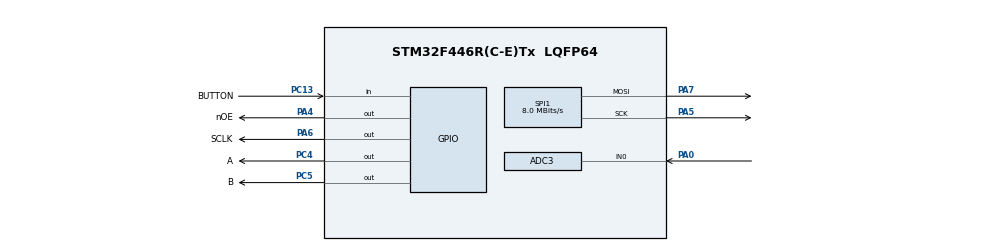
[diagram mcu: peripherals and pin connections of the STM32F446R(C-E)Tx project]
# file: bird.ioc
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ADC3.Channel-0\#ChannelRegularConversion=ADC_CHANNEL_0
ADC3.NbrOfConversionFlag=1
ADC3.Rank-0\#ChannelRegularConversion=1
ADC3.SamplingTime-0\#ChannelRegularConversion=ADC_SAMPLETIME_3CYCLES
Mcu.Family=STM32F4
Mcu.Name=STM32F446R(C-E)Tx
Mcu.Package=LQFP64
NVIC.ADC_IRQn=true\:0\:0\:false\:false\:true\:true\:true\:true
NVIC.PriorityGroup=NVIC_PRIORITYGROUP_4
NVIC.TIM2_IRQn=true\:0\:0\:false\:false\:true\:true\:true\:true
NVIC.TIM3_IRQn=true\:0\:0\:false\:false\:true\:true\:true\:true
NVIC.TIM4_IRQn=true\:0\:0\:false\:false\:true\:true\:true\:true
PA0-WKUP.Signal=ADCx_IN0
PA13.Mode=Serial_Wire
PA13.Signal=SYS_JTMS-SWDIO
PA14.Mode=Serial_Wire
PA14.Signal=SYS_JTCK-SWCLK
PA4.GPIO_Label=nOE
PA4.Signal=GPIO_Output
PA5.Mode=TX_Only_Simplex_Unidirect_Master
PA5.Signal=SPI1_SCK
PA6.GPIO_Label=SCLK
PA6.Signal=GPIO_Output
PA7.Mode=TX_Only_Simplex_Unidirect_Master
PA7.Signal=SPI1_MOSI
PC13.GPIO_Label=BUTTON
PC13.Signal=GPIO_Input
PC4.GPIO_Label=A
PC4.Signal=GPIO_Output
PC5.GPIO_Label=B
PC5.Signal=GPIO_Output
PH0-OSC_IN.Mode=HSE-External-Oscillator
PH0-OSC_IN.Signal=RCC_OSC_IN
PH1-OSC_OUT.Mode=HSE-External-Oscillator
PH1-OSC_OUT.Signal=RCC_OSC_OUT
ProjectManager.HeapSize=0x200
ProjectManager.StackSize=0x400
ProjectManager.TargetToolchain=STM32CubeIDE
RCC.CortexFreq_Value=16000000
RCC.USBFreq_Value=96000000
RCC.VCOOutputFreq_Value=192000000
SH.ADCx_IN0.0=ADC3_IN0,IN0
SPI1.CalculateBaudRate=8.0 MBits/s
SPI1.Direction=SPI_DIRECTION_2LINES
SPI1.Mode=SPI_MODE_MASTER
SPI1.VirtualType=VM_MASTER
TIM2.Channel-Output\ Compare1\ No\ Output=TIM_CHANNEL_1
TIM2.Period=16000-1
TIM2.Prescaler=100-1
TIM3.Channel-Output\ Compare1\ No\ Output=TIM_CHANNEL_1
TIM3.Period=50000-1
TIM3.Prescaler=32-1
TIM4.Channel-Output\ Compare1\ No\ Output=TIM_CHANNEL_1
TIM4.Period=10000-1
TIM4.Prescaler=160-1
VP_TIM2_VS_no_output1.Mode=Output Compare1 No Output
VP_TIM3_VS_no_output1.Mode=Output Compare1 No Output
VP_TIM4_VS_ClockSourceINT.Mode=Internal
VP_TIM4_VS_no_output1.Mode=Output Compare1 No Output
board=custom

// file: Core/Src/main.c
/* USER CODE BEGIN Header */
/**
 ******************************************************************************
 * @file           : main.c
 * @brief          : Main program body
 ******************************************************************************
 * @attention
 *
 * Copyright (c) 2023 STMicroelectronics.
 * All rights reserved.
 *
 * This software is licensed under terms that can be found in the LICENSE file
 * in the root directory of this software component.
 * If no LICENSE file comes with this software, it is provided AS-IS.
 *
 ******************************************************************************
 */
/* USER CODE END Header */
#include "main.h"
#include "adc.h"
#include "spi.h"
#include "tim.h"
#include "gpio.h"

/* USER CODE BEGIN Includes */
#include "disp1color.h"
#include "font.h"
#include <locale.h>
#include <time.h>
/* USER CODE END Includes */

/* USER CODE BEGIN PD */
#define f6x8_MONO_WIDTH 3
#define WIDTH 32
#define HEIGHT 16
/* USER CODE END PD */

/* USER CODE BEGIN PV */

extern uint8_t data1[16], data2[16], data3[16], data4[16];

char hitbox[HEIGHT][WIDTH + 10]; // отвечает за работу хитбоксов

int16_t h;
int16_t counter;
int16_t numb;
int16_t number;
int16_t gameover = 0;
uint16_t flag3;
uint8_t flag4 = 0;
uint8_t flag5 = 0;
uint8_t flag6 = 0;
int16_t a, b, c, d, e, f, g, t = 1;
uint16_t count;
uint16_t pred_count;
uint16_t score;
uint16_t score1;

/* USER CODE END PV */

void SystemClock_Config(void);

/* USER CODE BEGIN 0 */
void disp_row(uint16_t row) {

	if (row == 0) {

		for (uint8_t i = 0; i < 6; i++) {
			HAL_SPI_Transmit(&hspi1, &data1, 16, 1);
		}

		HAL_GPIO_WritePin(SCLK_GPIO_Port, SCLK_Pin, GPIO_PIN_RESET);
		HAL_GPIO_WritePin(SCLK_GPIO_Port, SCLK_Pin, GPIO_PIN_SET);

		HAL_GPIO_WritePin(A_GPIO_Port, A_Pin, GPIO_PIN_RESET);
		HAL_GPIO_WritePin(B_GPIO_Port, B_Pin, GPIO_PIN_RESET);
	}
	if (row == 1) {

		for (uint8_t i = 0; i < 6; i++) {
			HAL_SPI_Transmit(&hspi1, &data2, 16, 1);
		}

		HAL_GPIO_WritePin(SCLK_GPIO_Port, SCLK_Pin, GPIO_PIN_RESET);
		HAL_GPIO_WritePin(SCLK_GPIO_Port, SCLK_Pin, GPIO_PIN_SET);

		HAL_GPIO_WritePin(A_GPIO_Port, A_Pin, GPIO_PIN_SET);
		HAL_GPIO_WritePin(B_GPIO_Port, B_Pin, GPIO_PIN_RESET);
	}

	if (row == 2) {

		for (uint8_t i = 0; i < 6; i++) {
			HAL_SPI_Transmit(&hspi1, &data3, 16, 1);
		}

		HAL_GPIO_WritePin(SCLK_GPIO_Port, SCLK_Pin, GPIO_PIN_RESET);
		HAL_GPIO_WritePin(SCLK_GPIO_Port, SCLK_Pin, GPIO_PIN_SET);

		HAL_GPIO_WritePin(A_GPIO_Port, A_Pin, GPIO_PIN_RESET);
		HAL_GPIO_WritePin(B_GPIO_Port, B_Pin, GPIO_PIN_SET);
	}

	if (row == 3) {

		for (uint8_t i = 0; i < 6; i++) {
			HAL_SPI_Transmit(&hspi1, &data4, 16, 1);
		}

		HAL_GPIO_WritePin(SCLK_GPIO_Port, SCLK_Pin, GPIO_PIN_RESET);
		HAL_GPIO_WritePin(SCLK_GPIO_Port, SCLK_Pin, GPIO_PIN_SET);

		HAL_GPIO_WritePin(A_GPIO_Port, A_Pin, GPIO_PIN_SET);
		HAL_GPIO_WritePin(B_GPIO_Port, B_Pin, GPIO_PIN_SET);
	}

	HAL_GPIO_WritePin(nOE_GPIO_Port, nOE_Pin, GPIO_PIN_SET);
	for (uint32_t g = 0; g <= 500; g++) {};
	HAL_GPIO_WritePin(nOE_GPIO_Port, nOE_Pin, GPIO_PIN_RESET);
}

void draw_screen(uint8_t state) { // включает/выключает все светодиоды на экране
	for (uint16_t i = 0; i < WIDTH; i++) {
		for (uint16_t j = 0; j < HEIGHT; j++) {
			disp1color_DrawPixel(i, j, state);
		}
	}
}

void draw_bird(int16_t h) {
	disp1color_DrawRectangle(14 + h, 6, 17 + h, 9);
}

void draw_box(int16_t number, int16_t counter) {
	disp1color_DrawRectangle(21 - number, 11 + counter, 31, 15 + counter); //верхний
	disp1color_DrawRectangle(10 - number, 11 + counter, 0, 15 + counter); //нижний

}

void is_gameover(int16_t number, int16_t counter, int16_t h) {
	if (t > 0) {
		a = 11 + counter;
		d = 21 - number - 17 - h;
		g = 14 + h - 10 + number;
		if (11 + counter >= 2 && 11 + counter <= 9 && ((21 - number - 17 - h < 2) || (14 + h - 10 + number < 2))) {
			gameover = 1;
		}
		else {gameover = 0;}
		}
	else {gameover = 0;}

}

/* USER CODE END 0 */

int main(void)
{

  /* MCU Configuration--------------------------------------------------------*/

  /* Reset of all peripherals, Initializes the Flash interface and the Systick. */
  HAL_Init();

  /* Configure the system clock */
  SystemClock_Config();

  /* Initialize all configured peripherals */
  MX_GPIO_Init();
  MX_ADC3_Init();
  MX_SPI1_Init();
  MX_TIM2_Init();
  MX_TIM4_Init();
  MX_TIM3_Init();
  /* USER CODE BEGIN 2 */
	HAL_TIM_Base_Start_IT(&htim2);
	HAL_TIM_Base_Start_IT(&htim3);
	HAL_TIM_Base_Start_IT(&htim4);

	char *gameoverr = "LOSER";
	char *pMyStr[1000];
	char *scor[5];
  /* USER CODE END 2 */

  /* Infinite loop */
  /* USER CODE BEGIN WHILE */
	while (1) {

		if (gameover == 0) {
			draw_screen(0);
			draw_bird(h);
			number = (numb - 1) * 2;
			draw_box(number, counter);
			is_gameover(number, counter, h);
			disp1color_UpdateFromBuff(); //Перевод рассчитанных данных в массив
			prepare_data(); //Разбиение массива на массивы под каждую строку
			for (uint8_t i = 0; i < 20; i++) {
				disp_row(0);
				disp_row(1);
				disp_row(2);
				disp_row(3);
			}
		}
		else {
			if (flag4 == 0) {
					disp1color_UpdateFromBuff(); //Перевод рассчитанных данных в массив
					prepare_data(); //Разбиение массива на массивы под каждую строку
					for (uint8_t i = 0; i < 20; i++) {
						disp_row(0);
						disp_row(1);
						disp_row(2);
						disp_row(3);
					}
					if (flag5 == 0) {pred_count = count; flag5 = 1;}
					if (count - pred_count > 15){ flag4 = 1; }
			}
			else {
//					draw_screen(0);
//					snprintf(pMyStr, sizeof pMyStr, "%s", gameoverr); //вывод строки горизонтально
//					disp1color_printf(1, 4, FONTID_6X8M, pMyStr);
//					disp1color_UpdateFromBuff(); //Перевод рассчитанных данных в массив
//					prepare_data(); //Разбиение массива на массивы под каждую строку
//					for (uint8_t i = 0; i < 20; i++) {
//						disp_row(0);
//						disp_row(1);
//						disp_row(2);
//						disp_row(3);
//					}
					if (flag6 == 0) {score1 = score; flag6 = 1;}
					draw_screen(0);
					sprintf(scor, "%d", score1);
					disp1color_printf(11, 4, FONTID_6X8M, scor);
					disp1color_UpdateFromBuff(); //Перевод рассчитанных данных в массив
										prepare_data(); //Разбиение массива на массивы под каждую строку
										for (uint8_t i = 0; i < 20; i++) {
											disp_row(0);
											disp_row(1);
											disp_row(2);
											disp_row(3);
										}

			}
		}
	}

    /* USER CODE END WHILE */

}

void SystemClock_Config(void)
{
  RCC_OscInitTypeDef RCC_OscInitStruct = {0};
  RCC_ClkInitTypeDef RCC_ClkInitStruct = {0};

  /** Configure the main internal regulator output voltage
  */
  __HAL_RCC_PWR_CLK_ENABLE();
  __HAL_PWR_VOLTAGESCALING_CONFIG(PWR_REGULATOR_VOLTAGE_SCALE3);

  /** Initializes the RCC Oscillators according to the specified parameters
  * in the RCC_OscInitTypeDef structure.
  */
  RCC_OscInitStruct.OscillatorType = RCC_OSCILLATORTYPE_HSI;
  RCC_OscInitStruct.HSIState = RCC_HSI_ON;
  RCC_OscInitStruct.HSICalibrationValue = RCC_HSICALIBRATION_DEFAULT;
  RCC_OscInitStruct.PLL.PLLState = RCC_PLL_NONE;
  if (HAL_RCC_OscConfig(&RCC_OscInitStruct) != HAL_OK)
  {
    Error_Handler();
  }

  /** Initializes the CPU, AHB and APB buses clocks
  */
  RCC_ClkInitStruct.ClockType = RCC_CLOCKTYPE_HCLK|RCC_CLOCKTYPE_SYSCLK
                              |RCC_CLOCKTYPE_PCLK1|RCC_CLOCKTYPE_PCLK2;
  RCC_ClkInitStruct.SYSCLKSource = RCC_SYSCLKSOURCE_HSI;
  RCC_ClkInitStruct.AHBCLKDivider = RCC_SYSCLK_DIV1;
  RCC_ClkInitStruct.APB1CLKDivider = RCC_HCLK_DIV1;
  RCC_ClkInitStruct.APB2CLKDivider = RCC_HCLK_DIV1;

  if (HAL_RCC_ClockConfig(&RCC_ClkInitStruct, FLASH_LATENCY_0) != HAL_OK)
  {
    Error_Handler();
  }
}

void Error_Handler(void)
{
	__disable_irq();
	while (1) {
	}
}
